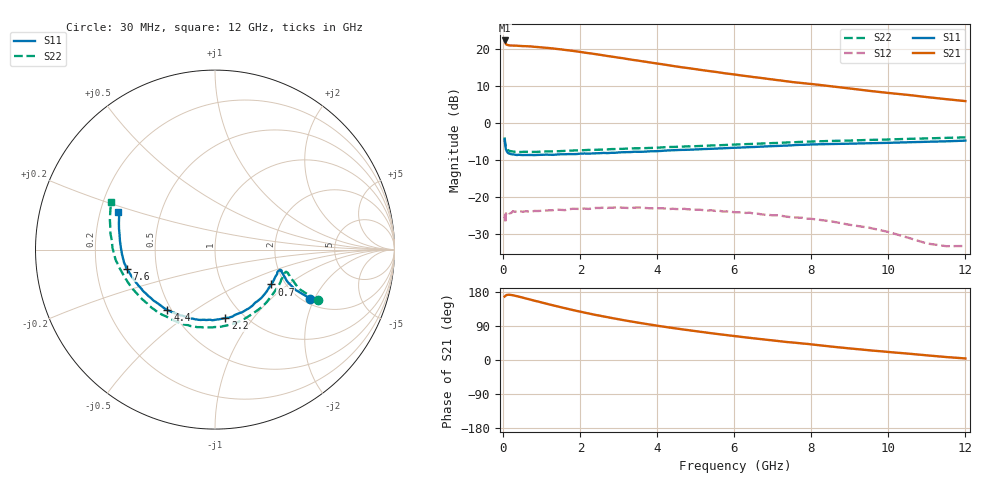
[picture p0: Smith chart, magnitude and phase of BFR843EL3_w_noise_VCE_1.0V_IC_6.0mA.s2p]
! Infineon Technologies  Discrete & RF Semiconductors
! BFR843EL3
! VCE =  1.0 V,  IC =  6.0 mA
! Common Emitter S-Parameters:  Aug 2013
# GHz  S  MA  R  50
!  f  S11  S21  S12  S22
! GHz  MAG  ANG  MAG  ANG  MAG  ANG  MAG  ANG
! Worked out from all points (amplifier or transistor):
!   103 points, 30 MHz to 12 GHz, reference 50 ohm
!   highest |S21| = 22.2 dB at 30 MHz (marker M1)
!   |S21| within 3 dB of that: start of sweep to 1.934 GHz
!   unconditionally stable (mu >= 1): 6.452 GHz to end of sweep
!   at 400 MHz: K = 0.99, MSG = 22.3 dB, |S12| = -24.0 dB
!   at 3.7 GHz: K = 0.77, MSG = 19.7 dB, |S12| = -22.9 dB
!   at 12 GHz: K = 4.39, MAG = 10.1 dB, |S12| = -33.2 dB
!   lowest NFmin = 0.89 dB at 450 MHz
!   S11 on the Smith chart (normalised r, x): 30 MHz: 2.19, -1.85; 700 MHz: 1.70, -0.77; 2.2 GHz: 0.82, -0.74; 4.4 GHz: 0.48, -0.39; 7.6 GHz: 0.33, -0.10; 12 GHz: 0.28, +0.17
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0.03  0.5962 -27.2  12.85 167.4  0.0521 33.2  0.6373 -26.2
0.04  0.5309 -26.8  12.24 168.3  0.0566 26.8  0.5672 -25.7
0.06  0.4477 -24.3  11.58 170.0  0.0599 24.6  0.4916 -23.5
0.1  0.4042 -19.9  11.18 171.9  0.0623 11.9  0.4415 -19.3
0.15  0.3874 -17.3  11.03 172.2  0.0607 7.3  0.4202 -17.6
0.25  0.3763 -17.9  10.96 170.7  0.0648 4.7  0.4113 -17.8
0.7  0.3698 -31.7  10.68 159.4  0.0633 3.8  0.4059 -33.7
1.1  0.3732 -46.1  10.25 149.0  0.0661 2.3  0.4121 -49.6
1.5  0.3779 -60.2  9.744 139.0  0.0674 1.6  0.417 -64.5
1.8  0.3792 -69.4  9.304 131.9  0.0697 0.7  0.4243 -74.4
2.1  0.3871 -78.6  8.834 125.2  0.0703 0.1  0.4293 -84.2
2.2  0.3852 -81.5  8.681 123.1  0.0695 -1.2  0.4324 -86.9
2.6  0.3942 -92.0  8.094 114.9  0.0724 -2.0  0.4382 -97.9
3.2  0.4036 -105.8  7.255 103.7  0.0717 -5.4  0.451 -112.0
4.1  0.4193 -123.0  6.173 88.9  0.0708 -10.5  0.4668 -128.9
4.4  0.428 -128.2  5.832 84.4  0.0698 -12.1  0.4739 -133.9
5.1  0.4407 -138.7  5.179 74.6  0.0677 -15.9  0.4875 -144.4
6.1  0.4634 -151.5  4.403 62.0  0.0626 -20.1  0.5131 -156.7
7.6  0.5032 -167.8  3.499 45.3  0.0533 -24.8  0.5499 -172.3
8.5  0.5189 -177.2  3.111 35.6  0.0474 -30.2  0.5711 179.1
10.5  0.5477 167.6  2.38 16.9  0.0286 -23.8  0.6086 164.2
12  0.5766 158.9  1.962 4.1  0.022 5.5  0.6385 155.5
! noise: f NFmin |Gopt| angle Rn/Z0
0.45  0.89  0.14  15  0.14
0.9  0.89  0.15  33  0.14
1.5  0.93  0.16  47  0.14
1.9  0.95  0.16  51  0.14
2.4  0.97  0.17  64  0.13
3.5  1.01  0.18  85  0.13
5.5  1.09  0.22  121  0.11
8  1.18  0.31  161  0.08
10  1.25  0.41  206  0.05
